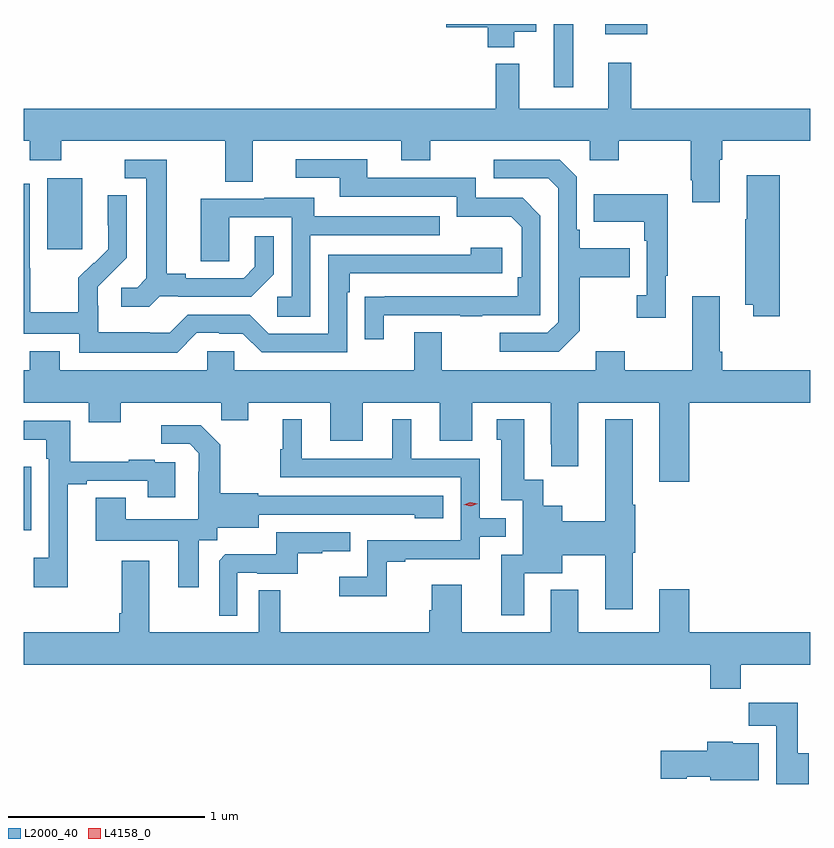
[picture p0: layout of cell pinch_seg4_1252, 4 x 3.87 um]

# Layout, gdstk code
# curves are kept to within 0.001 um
import gdstk
lib = gdstk.Library(unit=1e-6, precision=1e-09)
def R(c, l, rs):  # rectangles x0, y0, x1, y1
    for r in rs: c.add(gdstk.rectangle(r[:2], r[2:], *l))
def P(c, l, *ps):  # polygons
    for p in ps: c.add(gdstk.Polygon(p, *l))
L2000_40 = (2000, 40)
L4158_0 = (4158, 0)

pinch_seg4_1252 = lib.new_cell('pinch_seg4_1252')
R(pinch_seg4_1252, L2000_40, [(183.852,750.882,183.888,751.207), (183.971,752.313,184.15,752.674), (186.549,753.138,186.646,753.459), (186.809,753.407,187.024,753.459)])
P(pinch_seg4_1252, L2000_40, [(186.346,753.419),(186.46,753.419),(186.46,753.459),(186,753.459),(186,753.442),(186.212,753.442),(186.212,753.341),(186.346,753.341)],
  [(187.393,752.768),(187.406,752.768),(187.406,752.864),(187.852,752.864),(187.852,753.028),(186.941,753.028),(186.941,753.262),(186.824,753.262),(186.824,753.028),(186.371,753.028),(186.371,753.256),(186.253,753.256),(186.253,753.028),(183.852,753.028),(183.852,752.864),(183.881,752.864),(183.881,752.765),(184.041,752.765),(184.041,752.864),(184.877,752.864),(184.877,752.656),(185.017,752.656),(185.017,752.864),(185.771,752.864),(185.771,752.765),(185.919,752.765),(185.919,752.864),(186.732,752.864),(186.732,752.765),(186.879,752.765),(186.879,752.864),(187.246,752.864),(187.246,752.665),(187.253,752.665),(187.253,752.553),(187.393,752.553)],
  [(185.683,751.977),(186.073,751.977),(186.073,751.972),(186.185,751.972),(186.185,751.977),(186.48,751.977),(186.48,752.484),(186.39,752.574),(186.15,752.574),(186.15,752.676),(185.599,752.676),(185.599,752.772),(185.235,752.772),(185.235,752.676),(185.459,752.676),(185.459,752.58),(186.054,752.58),(186.054,752.477),(186.331,752.477),(186.384,752.424),(186.384,752.17),(186.364,752.17),(186.364,752.073),(185.587,752.072),(185.587,751.854),(185.683,751.854)],
  [(184.542,752.073),(184.636,752.073),(184.636,752.07),(185.008,752.07),(185.124,752.186),(185.124,752.38),(185.027,752.38),(185.027,752.223),(184.97,752.166),(184.675,752.166),(184.675,752.189),(184.579,752.189),(184.579,752.769),(184.365,752.769),(184.365,752.673),(184.475,752.673),(184.475,752.165),(184.428,752.118),(184.347,752.118),(184.347,752.021),(184.49,752.021)],
  [(186.679,751.897),(186.679,752.17),(186.935,752.17),(186.935,752.317),(186.679,752.317),(186.679,752.413),(186.666,752.413),(186.666,752.682),(186.579,752.769),(186.243,752.769),(186.243,752.673),(186.519,752.673),(186.57,752.622),(186.57,751.941),(186.516,751.887),(186.273,751.887),(186.273,751.791),(186.573,751.791)],
  [(187.697,752.689),(187.529,752.689),(187.529,752.465),(187.522,752.465),(187.522,752.03),(187.562,752.03),(187.562,751.971),(187.697,751.971)],
  [(184.731,751.887),(184.847,751.887),(184.847,751.884),(184.965,751.884),(185.061,751.788),(185.496,751.788),(185.496,752.093),(185.509,752.093),(185.509,752.19),(186.286,752.19),(186.286,752.32),(186.125,752.32),(186.125,752.286),(185.4,752.286),(185.4,751.884),(185.097,751.884),(185.001,751.98),(184.686,751.98),(184.593,751.887),(184.493,751.887),(184.493,751.891),(184.23,751.891),(184.23,752.025),(184.228,752.025),(184.228,752.122),(184.374,752.27),(184.374,752.588),(184.278,752.588),(184.278,752.434),(184.28,752.434),(184.28,752.312),(184.209,752.241),(184.206,752.244),(184.129,752.167),(184.129,751.993),(183.885,751.993),(183.885,752.216),(183.882,752.216),(183.882,752.646),(183.852,752.646),(183.852,751.884),(184.134,751.884),(184.134,751.787),(184.631,751.787)],
  [(187.117,752.177),(187.129,752.177),(187.129,752.593),(186.751,752.593),(186.751,752.453),(187.008,752.453),(187.008,752.357),(187.02,752.357),(187.02,752.078),(186.969,752.078),(186.969,751.965),(187.117,751.965)],
  [(185.31,752.385),(185.969,752.385),(185.969,752.481),(185.329,752.481),(185.329,752.575),(185.075,752.575),(185.075,752.571),(184.751,752.571),(184.751,752.251),(184.896,752.251),(184.896,752.475),(185.214,752.475),(185.214,752.07),(185.142,752.07),(185.142,751.969),(185.31,751.969)],
  [(185.977,751.891),(185.837,751.891),(185.837,751.696),(184.923,751.696),(184.923,751.794),(184.785,751.794),(184.785,751.696),(184.033,751.696),(184.033,751.795),(183.881,751.795),(183.881,751.696),(183.852,751.696),(183.852,751.532),(184.181,751.532),(184.181,751.433),(184.345,751.433),(184.345,751.532),(184.855,751.532),(184.855,751.442),(184.993,751.442),(184.993,751.532),(185.411,751.532),(185.411,751.338),(185.575,751.338),(185.575,751.532),(185.969,751.532),(185.969,751.338),(186.133,751.338),(186.133,751.532),(186.533,751.532),(186.533,751.321),(186.536,751.321),(186.536,751.209),(186.673,751.209),(186.673,751.532),(187.085,751.532),(187.085,751.131),(187.238,751.131),(187.238,751.532),(187.852,751.532),(187.852,751.696),(187.406,751.696),(187.406,751.792),(187.393,751.792),(187.393,752.074),(187.253,752.074),(187.253,751.696),(186.909,751.696),(186.909,751.795),(186.761,751.795),(186.761,751.696),(185.977,751.696)],
  [(186.397,750.665),(186.592,750.665),(186.592,750.757),(186.809,750.757),(186.809,750.48),(186.949,750.48),(186.949,750.768),(186.962,750.768),(186.962,751.012),(186.949,751.012),(186.949,751.447),(186.809,751.447),(186.809,750.929),(186.592,750.929),(186.592,751.009),(186.495,751.009),(186.495,751.139),(186.397,751.139),(186.397,751.447),(186.257,751.447),(186.257,751.344),(186.281,751.344),(186.281,751.035),(186.39,751.035),(186.39,750.759),(186.281,750.759),(186.281,750.45),(186.397,750.45)],
  [(185.697,750.723),(185.791,750.723),(185.791,750.735),(186.171,750.735),(186.171,750.849),(186.304,750.849),(186.304,750.945),(186.171,750.945),(186.171,751.248),(185.824,751.248),(185.824,751.447),(185.726,751.447),(185.726,751.248),(185.266,751.248),(185.266,751.447),(185.168,751.447),(185.168,751.296),(185.157,751.296),(185.157,751.152),(186.075,751.152),(186.075,750.831),(185.598,750.831),(185.598,750.646),(185.457,750.646),(185.457,750.548),(185.697,750.548)],
  [(184.075,751.116),(184.171,751.116),(184.171,751.134),(184.481,751.134),(184.481,751.05),(184.621,751.05),(184.621,751.23),(184.517,751.23),(184.517,751.243),(184.385,751.243),(184.385,751.232),(184.087,751.232),(184.087,751.44),(183.852,751.44),(183.852,751.343),(183.966,751.343),(183.966,751.247),(183.978,751.247),(183.978,750.742),(183.903,750.742),(183.903,750.594),(184.075,750.594)],
  [(184.741,750.832),(184.836,750.832),(184.836,750.896),(185.047,750.896),(185.047,750.963),(185.841,750.962),(185.841,750.944),(185.986,750.944),(185.986,751.059),(185.043,751.059),(185.043,751.072),(184.851,751.072),(184.851,751.317),(184.751,751.417),(184.551,751.417),(184.551,751.323),(184.695,751.323),(184.742,751.276),(184.742,751.181),(184.74,751.181),(184.74,750.94),(184.369,750.94),(184.369,751.049),(184.217,751.049),(184.217,750.83),(184.637,750.83),(184.637,750.594),(184.741,750.594)],
  [(184.938,750.666),(185.038,750.666),(185.038,750.663),(185.246,750.663),(185.246,750.765),(185.369,750.765),(185.369,750.776),(185.513,750.776),(185.513,750.873),(185.136,750.873),(185.136,750.761),(184.877,750.761),(184.845,750.729),(184.845,750.449),(184.938,750.449)],
  [(187.499,750.2),(187.852,750.2),(187.852,750.364),(187.238,750.364),(187.238,750.583),(187.085,750.583),(187.085,750.364),(186.673,750.364),(186.673,750.58),(186.533,750.58),(186.533,750.364),(186.079,750.364),(186.079,750.607),(185.927,750.607),(185.927,750.477),(185.915,750.477),(185.915,750.364),(185.155,750.364),(185.155,750.578),(185.046,750.578),(185.046,750.364),(184.489,750.364),(184.489,750.727),(184.349,750.727),(184.349,750.46),(184.337,750.46),(184.337,750.364),(183.852,750.364),(183.852,750.2),(187.343,750.2),(187.343,750.076),(187.499,750.076)],
  [(187.846,749.748),(187.789,749.748),(187.789,750.006),(187.54,750.006),(187.54,749.888),(187.679,749.888),(187.679,749.592),(187.846,749.592)],
  [(187.591,749.8),(187.458,749.8),(187.458,749.806),(187.328,749.806),(187.328,749.76),(187.092,749.76),(187.092,749.618),(187.224,749.618),(187.224,749.63),(187.344,749.63),(187.344,749.612),(187.591,749.612)])
P(pinch_seg4_1252, L4158_0, [(186.126,751.005),(186.091,751.013),(186.09,751.013),(186.091,751.013),(186.124,751.025),(186.16,751.018),(186.16,751.018),(186.16,751.018)])

lib.write_gds('pinch_seg4_1252.gds')
